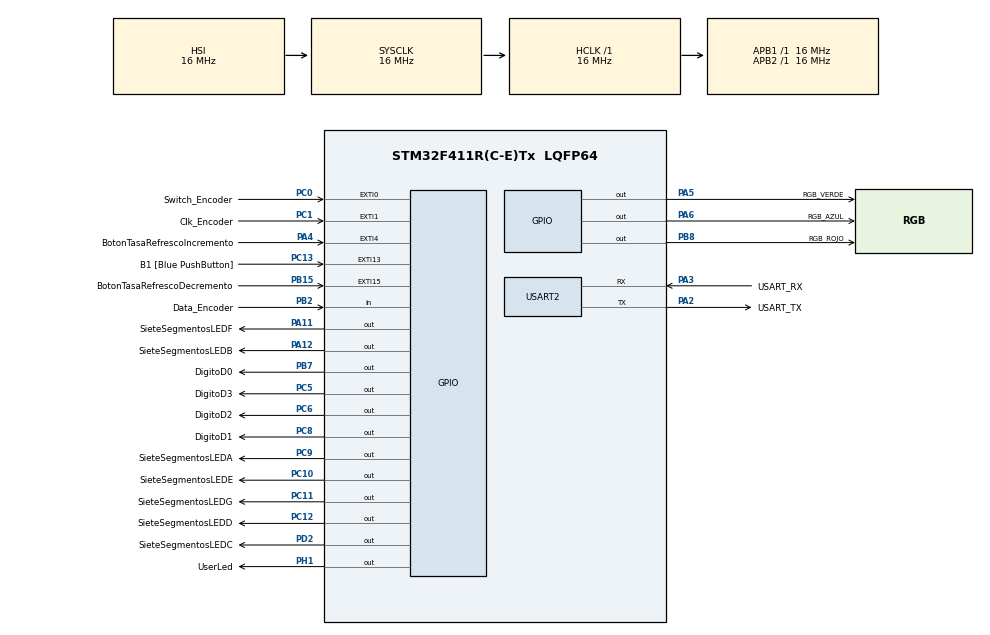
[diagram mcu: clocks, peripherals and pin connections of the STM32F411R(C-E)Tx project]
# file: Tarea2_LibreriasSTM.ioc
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Mcu.Family=STM32F4
Mcu.Name=STM32F411R(C-E)Tx
Mcu.Package=LQFP64
NVIC.EXTI0_IRQn=true\:0\:0\:false\:false\:true\:true\:true\:true
NVIC.EXTI15_10_IRQn=true\:0\:0\:false\:false\:true\:true\:true\:true
NVIC.EXTI1_IRQn=true\:0\:0\:false\:false\:true\:true\:true\:true
NVIC.EXTI4_IRQn=true\:0\:0\:false\:false\:true\:true\:true\:true
NVIC.PriorityGroup=NVIC_PRIORITYGROUP_0
NVIC.TIM2_IRQn=true\:0\:0\:false\:false\:true\:true\:true\:true
NVIC.TIM3_IRQn=true\:0\:0\:false\:false\:true\:true\:true\:true
PA11.GPIO_Label=SieteSegmentosLEDF
PA11.Signal=GPIO_Output
PA12.GPIO_Label=SieteSegmentosLEDB
PA12.Signal=GPIO_Output
PA13.GPIO_Label=TMS
PA13.Mode=Serial_Wire
PA13.Signal=SYS_JTMS-SWDIO
PA14.GPIO_Label=TCK
PA14.Mode=Serial_Wire
PA14.Signal=SYS_JTCK-SWCLK
PA2.GPIO_Label=USART_TX
PA2.Mode=Asynchronous
PA2.Signal=USART2_TX
PA3.GPIO_Label=USART_RX
PA3.Mode=Asynchronous
PA3.Signal=USART2_RX
PA4.GPIO_Label=BotonTasaRefrescoIncremento
PA4.GPIO_ModeDefaultEXTI=GPIO_MODE_IT_FALLING
PA4.Signal=GPXTI4
PA5.GPIO_Label=RGB_VERDE
PA5.Signal=GPIO_Output
PA6.GPIO_Label=RGB_AZUL
PA6.GPIO_Speed=GPIO_SPEED_FREQ_MEDIUM
PA6.Signal=GPIO_Output
PB15.GPIO_Label=BotonTasaRefrescoDecremento
PB15.GPIO_ModeDefaultEXTI=GPIO_MODE_IT_FALLING
PB15.Signal=GPXTI15
PB2.GPIO_Label=Data_Encoder
PB2.Signal=GPIO_Input
PB3.GPIO_Label=SWO
PB3.Signal=SYS_JTDO-SWO
PB7.GPIO_Label=DigitoD0
PB7.Signal=GPIO_Output
PB8.GPIO_Label=RGB_ROJO
PB8.Signal=GPIO_Output
PC0.GPIO_Label=Switch_Encoder
PC0.Signal=GPXTI0
PC1.GPIO_Label=Clk_Encoder
PC1.Signal=GPXTI1
PC10.GPIO_Label=SieteSegmentosLEDE
PC10.Signal=GPIO_Output
PC11.GPIO_Label=SieteSegmentosLEDG
PC11.Signal=GPIO_Output
PC12.GPIO_Label=SieteSegmentosLEDD
PC12.Signal=GPIO_Output
PC13-ANTI_TAMP.GPIO_Label=B1 [Blue PushButton]
PC13-ANTI_TAMP.GPIO_ModeDefaultEXTI=GPIO_MODE_IT_FALLING
PC13-ANTI_TAMP.Signal=GPXTI13
PC14-OSC32_IN.Mode=LSE-External-Clock-Source
PC14-OSC32_IN.Signal=RCC_OSC32_IN
PC15-OSC32_OUT.Mode=LSE-External-Clock-Source
PC15-OSC32_OUT.Signal=RCC_OSC32_OUT
PC5.GPIO_Label=DigitoD3
PC5.Signal=GPIO_Output
PC6.GPIO_Label=DigitoD2
PC6.Signal=GPIO_Output
PC8.GPIO_Label=DigitoD1
PC8.Signal=GPIO_Output
PC9.GPIO_Label=SieteSegmentosLEDA
PC9.Signal=GPIO_Output
PD2.GPIO_Label=SieteSegmentosLEDC
PD2.Signal=GPIO_Output
PH1\ -\ OSC_OUT.GPIO_Label=UserLed
PH1\ -\ OSC_OUT.Signal=GPIO_Output
ProjectManager.HeapSize=0x200
ProjectManager.StackSize=0x400
ProjectManager.TargetToolchain=STM32CubeIDE
RCC.AHBFreq_Value=16000000
RCC.APB1Freq_Value=16000000
RCC.APB1TimFreq_Value=16000000
RCC.APB2Freq_Value=16000000
RCC.CortexFreq_Value=16000000
RCC.FLatency-AdvancedSettings=FLASH_LATENCY_0
RCC.HSE_VALUE=25000000
RCC.HSI_VALUE=16000000
RCC.LSE_VALUE=32768
RCC.SYSCLKFreq_VALUE=16000000
RCC.VCOOutputFreq_Value=192000000
TIM2.Period=250-1
TIM2.Prescaler=16000-1
TIM3.Period=5
TIM3.Prescaler=16000
USART2.VirtualMode=VM_ASYNC
VP_TIM2_VS_ClockSourceINT.Mode=Internal
VP_TIM3_VS_ClockSourceINT.Mode=Internal
board=NUCLEO-F411RE

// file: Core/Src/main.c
/* USER CODE BEGIN Header */
/**
  ******************************************************************************
  * @file           : main.c
  * @brief          : Main program body
  ******************************************************************************
  * @attention
  *
  * Copyright (c) 2025 STMicroelectronics.
  * All rights reserved.
  *
  * This software is licensed under terms that can be found in the LICENSE file
  * in the root directory of this software component.
  * If no LICENSE file comes with this software, it is provided AS-IS.
  *
  ******************************************************************************
  */
/* USER CODE END Header */
#include "main.h"

TIM_HandleTypeDef htim2;
TIM_HandleTypeDef htim3;

UART_HandleTypeDef huart2;

/* USER CODE BEGIN PV */
State_t Current_State = STATE_REFRESH; // Se fija el estado por defecto

RGB_Color_t Current_Color = APAGADO;	//Se fija el estado inicial del LED RGB

//Variable que lleva el contador completo del taxímetro
uint16_t contador_Taximetro = 0;
//Variable que lleva el dato del dígito que se enciende en el taxímetro
uint8_t digito = 0;
//Se inicializa una variable que lleva el tiempo en ms que ha pasado desde el inicio
uint32_t contador_Tiempo = 0;

//Variables auxiliares para llevar los digitos que se deben mostrar en el taxímetro
uint8_t miles_contador_Taximetro 	= 0;
uint8_t centenas_contador_Taximetro = 0;
uint8_t decenas_contador_Taximetro 	= 0;
uint8_t unidades_contador_Taximetro = 0;
/* USER CODE END PV */

void SystemClock_Config(void);
static void MX_GPIO_Init(void);
static void MX_USART2_UART_Init(void);
static void MX_TIM2_Init(void);
static void MX_TIM3_Init(void);
/* USER CODE BEGIN PFP */
void FSM_update(State_t State);
void configMagic(void);
/* USER CODE END PFP */

int main(void)
{

  /* MCU Configuration--------------------------------------------------------*/

  /* Reset of all peripherals, Initializes the Flash interface and the Systick. */
  HAL_Init();

  /* Configure the system clock */
  SystemClock_Config();

  /* Initialize all configured peripherals */
  MX_GPIO_Init();
  MX_USART2_UART_Init();
  MX_TIM2_Init();
  MX_TIM3_Init();
  /* USER CODE BEGIN 2 */
  HAL_TIM_Base_Start_IT(&htim2); // Inicia el Timer 2 para interrupciones
  HAL_TIM_Base_Start_IT(&htim3); // Inicia el Timer 3 para interrupciones
  HAL_GPIO_WritePin(DigitoD0_GPIO_Port, DigitoD0_Pin, GPIO_PIN_SET); // Apagamos todos los digitos para evitar el fantasma
  HAL_GPIO_WritePin(DigitoD1_GPIO_Port, DigitoD1_Pin, GPIO_PIN_SET);
  HAL_GPIO_WritePin(DigitoD2_GPIO_Port, DigitoD2_Pin, GPIO_PIN_SET);
  HAL_GPIO_WritePin(DigitoD3_GPIO_Port, DigitoD3_Pin, GPIO_PIN_SET);
  configMagic();
  printf("Configuración Terminada :D \n");
  printf("+-- Intro EXTI --+");
  /* USER CODE END 2 */

  /* Infinite loop */
  while (1){

    /* USER CODE BEGIN 3 */
	  FSM_update(Current_State); // Llama a la función de actualización del FSM
  }
  /* USER CODE END 3 */
}

void SystemClock_Config(void)
{
  RCC_OscInitTypeDef RCC_OscInitStruct = {0};
  RCC_ClkInitTypeDef RCC_ClkInitStruct = {0};

  /** Configure the main internal regulator output voltage
  */
  __HAL_RCC_PWR_CLK_ENABLE();
  __HAL_PWR_VOLTAGESCALING_CONFIG(PWR_REGULATOR_VOLTAGE_SCALE1);

  /** Initializes the RCC Oscillators according to the specified parameters
  * in the RCC_OscInitTypeDef structure.
  */
  RCC_OscInitStruct.OscillatorType = RCC_OSCILLATORTYPE_HSI;
  RCC_OscInitStruct.HSIState = RCC_HSI_ON;
  RCC_OscInitStruct.HSICalibrationValue = RCC_HSICALIBRATION_DEFAULT;
  RCC_OscInitStruct.PLL.PLLState = RCC_PLL_NONE;
  if (HAL_RCC_OscConfig(&RCC_OscInitStruct) != HAL_OK)
  {
    Error_Handler();
  }

  /** Initializes the CPU, AHB and APB buses clocks
  */
  RCC_ClkInitStruct.ClockType = RCC_CLOCKTYPE_HCLK|RCC_CLOCKTYPE_SYSCLK
                              |RCC_CLOCKTYPE_PCLK1|RCC_CLOCKTYPE_PCLK2;
  RCC_ClkInitStruct.SYSCLKSource = RCC_SYSCLKSOURCE_HSI;
  RCC_ClkInitStruct.AHBCLKDivider = RCC_SYSCLK_DIV1;
  RCC_ClkInitStruct.APB1CLKDivider = RCC_HCLK_DIV1;
  RCC_ClkInitStruct.APB2CLKDivider = RCC_HCLK_DIV1;

  if (HAL_RCC_ClockConfig(&RCC_ClkInitStruct, FLASH_LATENCY_0) != HAL_OK)
  {
    Error_Handler();
  }
}

static void MX_TIM2_Init(void)
{

  TIM_ClockConfigTypeDef sClockSourceConfig = {0};
  TIM_MasterConfigTypeDef sMasterConfig = {0};

  htim2.Instance = TIM2;
  htim2.Init.Prescaler = 16000-1;
  htim2.Init.CounterMode = TIM_COUNTERMODE_UP;
  htim2.Init.Period = 250-1;
  htim2.Init.ClockDivision = TIM_CLOCKDIVISION_DIV1;
  htim2.Init.AutoReloadPreload = TIM_AUTORELOAD_PRELOAD_DISABLE;
  if (HAL_TIM_Base_Init(&htim2) != HAL_OK)
  {
    Error_Handler();
  }
  sClockSourceConfig.ClockSource = TIM_CLOCKSOURCE_INTERNAL;
  if (HAL_TIM_ConfigClockSource(&htim2, &sClockSourceConfig) != HAL_OK)
  {
    Error_Handler();
  }
  sMasterConfig.MasterOutputTrigger = TIM_TRGO_RESET;
  sMasterConfig.MasterSlaveMode = TIM_MASTERSLAVEMODE_DISABLE;
  if (HAL_TIMEx_MasterConfigSynchronization(&htim2, &sMasterConfig) != HAL_OK)
  {
    Error_Handler();
  }

}

static void MX_TIM3_Init(void)
{

  TIM_ClockConfigTypeDef sClockSourceConfig = {0};
  TIM_MasterConfigTypeDef sMasterConfig = {0};

  htim3.Instance = TIM3;
  htim3.Init.Prescaler = 16000;
  htim3.Init.CounterMode = TIM_COUNTERMODE_UP;
  htim3.Init.Period = 5;
  htim3.Init.ClockDivision = TIM_CLOCKDIVISION_DIV1;
  htim3.Init.AutoReloadPreload = TIM_AUTORELOAD_PRELOAD_DISABLE;
  if (HAL_TIM_Base_Init(&htim3) != HAL_OK)
  {
    Error_Handler();
  }
  sClockSourceConfig.ClockSource = TIM_CLOCKSOURCE_INTERNAL;
  if (HAL_TIM_ConfigClockSource(&htim3, &sClockSourceConfig) != HAL_OK)
  {
    Error_Handler();
  }
  sMasterConfig.MasterOutputTrigger = TIM_TRGO_RESET;
  sMasterConfig.MasterSlaveMode = TIM_MASTERSLAVEMODE_DISABLE;
  if (HAL_TIMEx_MasterConfigSynchronization(&htim3, &sMasterConfig) != HAL_OK)
  {
    Error_Handler();
  }

}

static void MX_USART2_UART_Init(void)
{

  huart2.Instance = USART2;
  huart2.Init.BaudRate = 115200;
  huart2.Init.WordLength = UART_WORDLENGTH_8B;
  huart2.Init.StopBits = UART_STOPBITS_1;
  huart2.Init.Parity = UART_PARITY_NONE;
  huart2.Init.Mode = UART_MODE_TX_RX;
  huart2.Init.HwFlowCtl = UART_HWCONTROL_NONE;
  huart2.Init.OverSampling = UART_OVERSAMPLING_16;
  if (HAL_UART_Init(&huart2) != HAL_OK)
  {
    Error_Handler();
  }

}

static void MX_GPIO_Init(void)
{
  GPIO_InitTypeDef GPIO_InitStruct = {0};

  /* GPIO Ports Clock Enable */
  __HAL_RCC_GPIOC_CLK_ENABLE();
  __HAL_RCC_GPIOH_CLK_ENABLE();
  __HAL_RCC_GPIOA_CLK_ENABLE();
  __HAL_RCC_GPIOB_CLK_ENABLE();
  __HAL_RCC_GPIOD_CLK_ENABLE();

  /*Configure GPIO pin Output Level */
  HAL_GPIO_WritePin(UserLed_GPIO_Port, UserLed_Pin, GPIO_PIN_RESET);

  /*Configure GPIO pin Output Level */
  HAL_GPIO_WritePin(GPIOA, RGB_VERDE_Pin|RGB_AZUL_Pin|SieteSegmentosLEDF_Pin|SieteSegmentosLEDB_Pin, GPIO_PIN_RESET);

  /*Configure GPIO pin Output Level */
  HAL_GPIO_WritePin(GPIOC, DigitoD3_Pin|DigitoD2_Pin|DigitoD1_Pin|SieteSegmentosLEDA_Pin
                          |SieteSegmentosLEDE_Pin|SieteSegmentosLEDG_Pin|SieteSegmentosLEDD_Pin, GPIO_PIN_RESET);

  /*Configure GPIO pin Output Level */
  HAL_GPIO_WritePin(SieteSegmentosLEDC_GPIO_Port, SieteSegmentosLEDC_Pin, GPIO_PIN_RESET);

  /*Configure GPIO pin Output Level */
  HAL_GPIO_WritePin(GPIOB, DigitoD0_Pin|RGB_ROJO_Pin, GPIO_PIN_RESET);

  /*Configure GPIO pin : B1_Pin */
  GPIO_InitStruct.Pin = B1_Pin;
  GPIO_InitStruct.Mode = GPIO_MODE_IT_FALLING;
  GPIO_InitStruct.Pull = GPIO_NOPULL;
  HAL_GPIO_Init(B1_GPIO_Port, &GPIO_InitStruct);

  /*Configure GPIO pin : UserLed_Pin */
  GPIO_InitStruct.Pin = UserLed_Pin;
  GPIO_InitStruct.Mode = GPIO_MODE_OUTPUT_PP;
  GPIO_InitStruct.Pull = GPIO_NOPULL;
  GPIO_InitStruct.Speed = GPIO_SPEED_FREQ_LOW;
  HAL_GPIO_Init(UserLed_GPIO_Port, &GPIO_InitStruct);

  /*Configure GPIO pins : Switch_Encoder_Pin Clk_Encoder_Pin */
  GPIO_InitStruct.Pin = Switch_Encoder_Pin|Clk_Encoder_Pin;
  GPIO_InitStruct.Mode = GPIO_MODE_IT_RISING;
  GPIO_InitStruct.Pull = GPIO_NOPULL;
  HAL_GPIO_Init(GPIOC, &GPIO_InitStruct);

  /*Configure GPIO pin : BotonTasaRefrescoIncremento_Pin */
  GPIO_InitStruct.Pin = BotonTasaRefrescoIncremento_Pin;
  GPIO_InitStruct.Mode = GPIO_MODE_IT_FALLING;
  GPIO_InitStruct.Pull = GPIO_NOPULL;
  HAL_GPIO_Init(BotonTasaRefrescoIncremento_GPIO_Port, &GPIO_InitStruct);

  /*Configure GPIO pins : RGB_VERDE_Pin SieteSegmentosLEDF_Pin SieteSegmentosLEDB_Pin */
  GPIO_InitStruct.Pin = RGB_VERDE_Pin|SieteSegmentosLEDF_Pin|SieteSegmentosLEDB_Pin;
  GPIO_InitStruct.Mode = GPIO_MODE_OUTPUT_PP;
  GPIO_InitStruct.Pull = GPIO_NOPULL;
  GPIO_InitStruct.Speed = GPIO_SPEED_FREQ_LOW;
  HAL_GPIO_Init(GPIOA, &GPIO_InitStruct);

  /*Configure GPIO pin : RGB_AZUL_Pin */
  GPIO_InitStruct.Pin = RGB_AZUL_Pin;
  GPIO_InitStruct.Mode = GPIO_MODE_OUTPUT_PP;
  GPIO_InitStruct.Pull = GPIO_NOPULL;
  GPIO_InitStruct.Speed = GPIO_SPEED_FREQ_MEDIUM;
  HAL_GPIO_Init(RGB_AZUL_GPIO_Port, &GPIO_InitStruct);

  /*Configure GPIO pins : DigitoD3_Pin DigitoD2_Pin DigitoD1_Pin SieteSegmentosLEDA_Pin
                           SieteSegmentosLEDE_Pin SieteSegmentosLEDG_Pin SieteSegmentosLEDD_Pin */
  GPIO_InitStruct.Pin = DigitoD3_Pin|DigitoD2_Pin|DigitoD1_Pin|SieteSegmentosLEDA_Pin
                          |SieteSegmentosLEDE_Pin|SieteSegmentosLEDG_Pin|SieteSegmentosLEDD_Pin;
  GPIO_InitStruct.Mode = GPIO_MODE_OUTPUT_PP;
  GPIO_InitStruct.Pull = GPIO_NOPULL;
  GPIO_InitStruct.Speed = GPIO_SPEED_FREQ_LOW;
  HAL_GPIO_Init(GPIOC, &GPIO_InitStruct);

  /*Configure GPIO pin : Data_Encoder_Pin */
  GPIO_InitStruct.Pin = Data_Encoder_Pin;
  GPIO_InitStruct.Mode = GPIO_MODE_INPUT;
  GPIO_InitStruct.Pull = GPIO_NOPULL;
  HAL_GPIO_Init(Data_Encoder_GPIO_Port, &GPIO_InitStruct);

  /*Configure GPIO pin : BotonTasaRefrescoDecremento_Pin */
  GPIO_InitStruct.Pin = BotonTasaRefrescoDecremento_Pin;
  GPIO_InitStruct.Mode = GPIO_MODE_IT_FALLING;
  GPIO_InitStruct.Pull = GPIO_NOPULL;
  HAL_GPIO_Init(BotonTasaRefrescoDecremento_GPIO_Port, &GPIO_InitStruct);

  /*Configure GPIO pin : SieteSegmentosLEDC_Pin */
  GPIO_InitStruct.Pin = SieteSegmentosLEDC_Pin;
  GPIO_InitStruct.Mode = GPIO_MODE_OUTPUT_PP;
  GPIO_InitStruct.Pull = GPIO_NOPULL;
  GPIO_InitStruct.Speed = GPIO_SPEED_FREQ_LOW;
  HAL_GPIO_Init(SieteSegmentosLEDC_GPIO_Port, &GPIO_InitStruct);

  /*Configure GPIO pins : DigitoD0_Pin RGB_ROJO_Pin */
  GPIO_InitStruct.Pin = DigitoD0_Pin|RGB_ROJO_Pin;
  GPIO_InitStruct.Mode = GPIO_MODE_OUTPUT_PP;
  GPIO_InitStruct.Pull = GPIO_NOPULL;
  GPIO_InitStruct.Speed = GPIO_SPEED_FREQ_LOW;
  HAL_GPIO_Init(GPIOB, &GPIO_InitStruct);

  /* EXTI interrupt init*/
  HAL_NVIC_SetPriority(EXTI0_IRQn, 0, 0);
  HAL_NVIC_EnableIRQ(EXTI0_IRQn);

  HAL_NVIC_SetPriority(EXTI1_IRQn, 0, 0);
  HAL_NVIC_EnableIRQ(EXTI1_IRQn);

  HAL_NVIC_SetPriority(EXTI4_IRQn, 0, 0);
  HAL_NVIC_EnableIRQ(EXTI4_IRQn);

  HAL_NVIC_SetPriority(EXTI15_10_IRQn, 0, 0);
  HAL_NVIC_EnableIRQ(EXTI15_10_IRQn);

  /* USER CODE BEGIN MX_GPIO_Init_2 */
  // Para EXTI0 (PC0)
  HAL_NVIC_SetPriority(EXTI0_IRQn, 0, 0);
  HAL_NVIC_EnableIRQ(EXTI0_IRQn);

  // Para EXTI1 (PC1)
  HAL_NVIC_SetPriority(EXTI1_IRQn, 0, 0);
  HAL_NVIC_EnableIRQ(EXTI1_IRQn);

  // Para EXTI4 (PA4)
  HAL_NVIC_SetPriority(EXTI4_IRQn, 0, 0);
  HAL_NVIC_EnableIRQ(EXTI4_IRQn);

  // Para EXTI15_10 (PB15)
  HAL_NVIC_SetPriority(EXTI15_10_IRQn, 0, 0);
  HAL_NVIC_EnableIRQ(EXTI15_10_IRQn);
  /* USER CODE END MX_GPIO_Init_2 */
}

/* USER CODE BEGIN 4 */

void setNumeroSieteSegmentos(uint8_t numero){
	switch (numero){
		case 0:
			HAL_GPIO_WritePin(SieteSegmentosLEDA_GPIO_Port, SieteSegmentosLEDA_Pin, GPIO_PIN_RESET);
			HAL_GPIO_WritePin(SieteSegmentosLEDB_GPIO_Port, SieteSegmentosLEDB_Pin, GPIO_PIN_RESET);
			HAL_GPIO_WritePin(SieteSegmentosLEDC_GPIO_Port, SieteSegmentosLEDC_Pin, GPIO_PIN_RESET);
			HAL_GPIO_WritePin(SieteSegmentosLEDD_GPIO_Port, SieteSegmentosLEDD_Pin, GPIO_PIN_RESET);
			HAL_GPIO_WritePin(SieteSegmentosLEDE_GPIO_Port, SieteSegmentosLEDE_Pin, GPIO_PIN_RESET);
			HAL_GPIO_WritePin(SieteSegmentosLEDF_GPIO_Port, SieteSegmentosLEDF_Pin, GPIO_PIN_RESET);
			HAL_GPIO_WritePin(SieteSegmentosLEDG_GPIO_Port, SieteSegmentosLEDG_Pin, GPIO_PIN_SET);
			break;
		case 1:
			HAL_GPIO_WritePin(SieteSegmentosLEDA_GPIO_Port, SieteSegmentosLEDA_Pin, GPIO_PIN_SET);
			HAL_GPIO_WritePin(SieteSegmentosLEDB_GPIO_Port, SieteSegmentosLEDB_Pin, GPIO_PIN_RESET);
			HAL_GPIO_WritePin(SieteSegmentosLEDC_GPIO_Port, SieteSegmentosLEDC_Pin, GPIO_PIN_RESET);
			HAL_GPIO_WritePin(SieteSegmentosLEDD_GPIO_Port, SieteSegmentosLEDD_Pin, GPIO_PIN_SET);
			HAL_GPIO_WritePin(SieteSegmentosLEDE_GPIO_Port, SieteSegmentosLEDE_Pin, GPIO_PIN_SET);
			HAL_GPIO_WritePin(SieteSegmentosLEDF_GPIO_Port, SieteSegmentosLEDF_Pin, GPIO_PIN_SET);
			HAL_GPIO_WritePin(SieteSegmentosLEDG_GPIO_Port, SieteSegmentosLEDG_Pin, GPIO_PIN_SET);
			break;
		case 2:
			HAL_GPIO_WritePin(SieteSegmentosLEDA_GPIO_Port, SieteSegmentosLEDA_Pin, GPIO_PIN_RESET);
			HAL_GPIO_WritePin(SieteSegmentosLEDB_GPIO_Port, SieteSegmentosLEDB_Pin, GPIO_PIN_RESET);
			HAL_GPIO_WritePin(SieteSegmentosLEDC_GPIO_Port, SieteSegmentosLEDC_Pin, GPIO_PIN_SET);
			HAL_GPIO_WritePin(SieteSegmentosLEDD_GPIO_Port, SieteSegmentosLEDD_Pin, GPIO_PIN_RESET);
			HAL_GPIO_WritePin(SieteSegmentosLEDE_GPIO_Port, SieteSegmentosLEDE_Pin, GPIO_PIN_RESET);
			HAL_GPIO_WritePin(SieteSegmentosLEDF_GPIO_Port, SieteSegmentosLEDF_Pin, GPIO_PIN_SET);
			HAL_GPIO_WritePin(SieteSegmentosLEDG_GPIO_Port, SieteSegmentosLEDG_Pin, GPIO_PIN_RESET);
			break;
		case 3:
			HAL_GPIO_WritePin(SieteSegmentosLEDA_GPIO_Port, SieteSegmentosLEDA_Pin, GPIO_PIN_RESET);
			HAL_GPIO_WritePin(SieteSegmentosLEDB_GPIO_Port, SieteSegmentosLEDB_Pin, GPIO_PIN_RESET);
			HAL_GPIO_WritePin(SieteSegmentosLEDC_GPIO_Port, SieteSegmentosLEDC_Pin, GPIO_PIN_RESET);
			HAL_GPIO_WritePin(SieteSegmentosLEDD_GPIO_Port, SieteSegmentosLEDD_Pin, GPIO_PIN_RESET);
			HAL_GPIO_WritePin(SieteSegmentosLEDE_GPIO_Port, SieteSegmentosLEDE_Pin, GPIO_PIN_SET);
			HAL_GPIO_WritePin(SieteSegmentosLEDF_GPIO_Port, SieteSegmentosLEDF_Pin, GPIO_PIN_SET);
			HAL_GPIO_WritePin(SieteSegmentosLEDG_GPIO_Port, SieteSegmentosLEDG_Pin, GPIO_PIN_RESET);
			break;
		case 4:
			HAL_GPIO_WritePin(SieteSegmentosLEDA_GPIO_Port, SieteSegmentosLEDA_Pin, GPIO_PIN_SET);
			HAL_GPIO_WritePin(SieteSegmentosLEDB_GPIO_Port, SieteSegmentosLEDB_Pin, GPIO_PIN_RESET);
			HAL_GPIO_WritePin(SieteSegmentosLEDC_GPIO_Port, SieteSegmentosLEDC_Pin, GPIO_PIN_RESET);
			HAL_GPIO_WritePin(SieteSegmentosLEDD_GPIO_Port, SieteSegmentosLEDD_Pin, GPIO_PIN_SET);
			HAL_GPIO_WritePin(SieteSegmentosLEDE_GPIO_Port, SieteSegmentosLEDE_Pin, GPIO_PIN_SET);
			HAL_GPIO_WritePin(SieteSegmentosLEDF_GPIO_Port, SieteSegmentosLEDF_Pin, GPIO_PIN_RESET);
			HAL_GPIO_WritePin(SieteSegmentosLEDG_GPIO_Port, SieteSegmentosLEDG_Pin, GPIO_PIN_RESET);
			break;
		case 5:
			HAL_GPIO_WritePin(SieteSegmentosLEDA_GPIO_Port, SieteSegmentosLEDA_Pin, GPIO_PIN_RESET);
			HAL_GPIO_WritePin(SieteSegmentosLEDB_GPIO_Port, SieteSegmentosLEDB_Pin, GPIO_PIN_SET);
			HAL_GPIO_WritePin(SieteSegmentosLEDC_GPIO_Port, SieteSegmentosLEDC_Pin, GPIO_PIN_RESET);
			HAL_GPIO_WritePin(SieteSegmentosLEDD_GPIO_Port, SieteSegmentosLEDD_Pin, GPIO_PIN_RESET);
			HAL_GPIO_WritePin(SieteSegmentosLEDE_GPIO_Port, SieteSegmentosLEDE_Pin, GPIO_PIN_SET);
			HAL_GPIO_WritePin(SieteSegmentosLEDF_GPIO_Port, SieteSegmentosLEDF_Pin, GPIO_PIN_RESET);
			HAL_GPIO_WritePin(SieteSegmentosLEDG_GPIO_Port, SieteSegmentosLEDG_Pin, GPIO_PIN_RESET);
			break;
		case 6:
			HAL_GPIO_WritePin(SieteSegmentosLEDA_GPIO_Port, SieteSegmentosLEDA_Pin, GPIO_PIN_RESET);
			HAL_GPIO_WritePin(SieteSegmentosLEDB_GPIO_Port, SieteSegmentosLEDB_Pin, GPIO_PIN_SET);
			HAL_GPIO_WritePin(SieteSegmentosLEDC_GPIO_Port, SieteSegmentosLEDC_Pin, GPIO_PIN_RESET);
			HAL_GPIO_WritePin(SieteSegmentosLEDD_GPIO_Port, SieteSegmentosLEDD_Pin, GPIO_PIN_RESET);
			HAL_GPIO_WritePin(SieteSegmentosLEDE_GPIO_Port, SieteSegmentosLEDE_Pin, GPIO_PIN_RESET);
			HAL_GPIO_WritePin(SieteSegmentosLEDF_GPIO_Port, SieteSegmentosLEDF_Pin, GPIO_PIN_RESET);
			HAL_GPIO_WritePin(SieteSegmentosLEDG_GPIO_Port, SieteSegmentosLEDG_Pin, GPIO_PIN_RESET);
			break;
		case 7:
			HAL_GPIO_WritePin(SieteSegmentosLEDA_GPIO_Port, SieteSegmentosLEDA_Pin, GPIO_PIN_RESET);
			HAL_GPIO_WritePin(SieteSegmentosLEDB_GPIO_Port, SieteSegmentosLEDB_Pin, GPIO_PIN_RESET);
			HAL_GPIO_WritePin(SieteSegmentosLEDC_GPIO_Port, SieteSegmentosLEDC_Pin, GPIO_PIN_RESET);
			HAL_GPIO_WritePin(SieteSegmentosLEDD_GPIO_Port, SieteSegmentosLEDD_Pin, GPIO_PIN_SET);
			HAL_GPIO_WritePin(SieteSegmentosLEDE_GPIO_Port, SieteSegmentosLEDE_Pin, GPIO_PIN_SET);
			HAL_GPIO_WritePin(SieteSegmentosLEDF_GPIO_Port, SieteSegmentosLEDF_Pin, GPIO_PIN_SET);
			HAL_GPIO_WritePin(SieteSegmentosLEDG_GPIO_Port, SieteSegmentosLEDG_Pin, GPIO_PIN_SET);
			break;
		case 8:
			HAL_GPIO_WritePin(SieteSegmentosLEDA_GPIO_Port, SieteSegmentosLEDA_Pin, GPIO_PIN_RESET);
			HAL_GPIO_WritePin(SieteSegmentosLEDB_GPIO_Port, SieteSegmentosLEDB_Pin, GPIO_PIN_RESET);
			HAL_GPIO_WritePin(SieteSegmentosLEDC_GPIO_Port, SieteSegmentosLEDC_Pin, GPIO_PIN_RESET);
			HAL_GPIO_WritePin(SieteSegmentosLEDD_GPIO_Port, SieteSegmentosLEDD_Pin, GPIO_PIN_RESET);
			HAL_GPIO_WritePin(SieteSegmentosLEDE_GPIO_Port, SieteSegmentosLEDE_Pin, GPIO_PIN_RESET);
			HAL_GPIO_WritePin(SieteSegmentosLEDF_GPIO_Port, SieteSegmentosLEDF_Pin, GPIO_PIN_RESET);
			HAL_GPIO_WritePin(SieteSegmentosLEDG_GPIO_Port, SieteSegmentosLEDG_Pin, GPIO_PIN_RESET);
			break;
		case 9:
			HAL_GPIO_WritePin(SieteSegmentosLEDA_GPIO_Port, SieteSegmentosLEDA_Pin, GPIO_PIN_RESET);
			HAL_GPIO_WritePin(SieteSegmentosLEDB_GPIO_Port, SieteSegmentosLEDB_Pin, GPIO_PIN_RESET);
			HAL_GPIO_WritePin(SieteSegmentosLEDC_GPIO_Port, SieteSegmentosLEDC_Pin, GPIO_PIN_RESET);
			HAL_GPIO_WritePin(SieteSegmentosLEDD_GPIO_Port, SieteSegmentosLEDD_Pin, GPIO_PIN_RESET);
			HAL_GPIO_WritePin(SieteSegmentosLEDE_GPIO_Port, SieteSegmentosLEDE_Pin, GPIO_PIN_SET);
			HAL_GPIO_WritePin(SieteSegmentosLEDF_GPIO_Port, SieteSegmentosLEDF_Pin, GPIO_PIN_RESET);
			HAL_GPIO_WritePin(SieteSegmentosLEDG_GPIO_Port, SieteSegmentosLEDG_Pin, GPIO_PIN_RESET);
			break;
	}
}

void separarContador(void){
	/*
	 * Esta función asigna a estas variables el número correspondiente para que pueda mostrarse
	 * el número adecuado en el taxímetro
	 */
	miles_contador_Taximetro = contador_Taximetro / 1000;
	centenas_contador_Taximetro = (contador_Taximetro % 1000) / 100;
	decenas_contador_Taximetro = (contador_Taximetro % 100) / 10;
	unidades_contador_Taximetro = contador_Taximetro % 10;
}

void cambioEstadoLEDRGB(RGB_Color_t Color){
	switch (Color){
		case APAGADO: {
			HAL_GPIO_WritePin(GPIOA, RGB_AZUL_Pin, GPIO_PIN_RESET);
			HAL_GPIO_WritePin(GPIOB, RGB_ROJO_Pin, GPIO_PIN_RESET);
			HAL_GPIO_WritePin(GPIOA, RGB_VERDE_Pin, GPIO_PIN_RESET);
			break;
		}
		case ROJO: {
			HAL_GPIO_WritePin(GPIOA, RGB_AZUL_Pin, GPIO_PIN_RESET);
			HAL_GPIO_WritePin(GPIOB, RGB_ROJO_Pin, GPIO_PIN_SET);
			HAL_GPIO_WritePin(GPIOA, RGB_VERDE_Pin, GPIO_PIN_RESET);
			break;
		}
		case AZUL: {
			HAL_GPIO_WritePin(GPIOA, RGB_AZUL_Pin, GPIO_PIN_SET);
			HAL_GPIO_WritePin(GPIOB, RGB_ROJO_Pin, GPIO_PIN_RESET);
			HAL_GPIO_WritePin(GPIOA, RGB_VERDE_Pin, GPIO_PIN_RESET);
			break;
		}
		case VERDE: {
			HAL_GPIO_WritePin(GPIOA, RGB_AZUL_Pin, GPIO_PIN_RESET);
			HAL_GPIO_WritePin(GPIOB, RGB_ROJO_Pin, GPIO_PIN_RESET);
			HAL_GPIO_WritePin(GPIOA, RGB_VERDE_Pin, GPIO_PIN_SET);
			break;
		}
		case AZUL_VERDE: {
			HAL_GPIO_WritePin(GPIOA, RGB_AZUL_Pin, GPIO_PIN_SET);
			HAL_GPIO_WritePin(GPIOB, RGB_ROJO_Pin, GPIO_PIN_RESET);
			HAL_GPIO_WritePin(GPIOA, RGB_VERDE_Pin, GPIO_PIN_SET);
			break;
		}
		case AZUL_ROJO: {
			HAL_GPIO_WritePin(GPIOA, RGB_AZUL_Pin, GPIO_PIN_SET);
			HAL_GPIO_WritePin(GPIOB, RGB_ROJO_Pin, GPIO_PIN_SET);
			HAL_GPIO_WritePin(GPIOA, RGB_VERDE_Pin, GPIO_PIN_RESET);
			break;
		}
		case ROJO_VERDE: {
			HAL_GPIO_WritePin(GPIOA, RGB_AZUL_Pin, GPIO_PIN_RESET);
			HAL_GPIO_WritePin(GPIOB, RGB_ROJO_Pin, GPIO_PIN_SET);
			HAL_GPIO_WritePin(GPIOA, RGB_VERDE_Pin, GPIO_PIN_SET);
			break;
		}
		case ROJO_VERDE_AZUL: {
			HAL_GPIO_WritePin(GPIOA, RGB_AZUL_Pin, GPIO_PIN_SET);
			HAL_GPIO_WritePin(GPIOB, RGB_ROJO_Pin, GPIO_PIN_SET);
			HAL_GPIO_WritePin(GPIOA, RGB_VERDE_Pin, GPIO_PIN_SET);
			break;
		}
	}
}

void displaySieteSegmentos(uint8_t digito){
	switch (digito){
		case 0 :{
			HAL_GPIO_WritePin(DigitoD3_GPIO_Port, DigitoD3_Pin, GPIO_PIN_SET);   			//Se desactiva el dígito anterior
			setNumeroSieteSegmentos(unidades_contador_Taximetro);	//Se asigna el número correspondiente a las unidades
			HAL_GPIO_WritePin(DigitoD0_GPIO_Port, DigitoD0_Pin, GPIO_PIN_RESET);			//Se muestra el número en el dígito 0
			break;
		}case 1:{
			HAL_GPIO_WritePin(DigitoD0_GPIO_Port, DigitoD0_Pin, GPIO_PIN_SET);				//Se desactiva el digito anterior
			setNumeroSieteSegmentos(decenas_contador_Taximetro);	//Se asigna el número correspondiente a las decenas
			HAL_GPIO_WritePin(DigitoD1_GPIO_Port, DigitoD1_Pin, GPIO_PIN_RESET);			//Se muestra el número en el dígito 1
			break;
		}case 2:{
			HAL_GPIO_WritePin(DigitoD1_GPIO_Port, DigitoD1_Pin, GPIO_PIN_SET);				//Se desactiva el digito anterior
			setNumeroSieteSegmentos(centenas_contador_Taximetro);	//Se asigna el número correspondiente a las centenas
			HAL_GPIO_WritePin(DigitoD2_GPIO_Port, DigitoD2_Pin, GPIO_PIN_RESET);			//Se muestra el número en el dígito 2
			break;
		}case 3:{
			HAL_GPIO_WritePin(DigitoD2_GPIO_Port, DigitoD2_Pin, GPIO_PIN_SET);				//Se desactiva el digito anterior
			setNumeroSieteSegmentos(miles_contador_Taximetro);		//Se asigna el número correspondiente a los miles
			HAL_GPIO_WritePin(DigitoD3_GPIO_Port, DigitoD3_Pin, GPIO_PIN_RESET);			//Se muestra el número en el dígito 3
			break;
		}
	}
}

void FSM_update(State_t State){
	switch (State){
		case STATE_REFRESH:{
			if(digito > 3){	//Si se quiere prender el digito 4 (No existe) se devuelve al digito 0
				digito = 0;
			}
			displaySieteSegmentos(digito);	//Se muestran los digitos con el efecto visual deseado
			break;
		}case STATE_RGB_FEEDBACK :{
			//Este condicional es para poder repetir el ciclo dentro del ENUM indefinidamente
			if (Current_Color == ROJO_VERDE_AZUL ){	//Si se hace una interrupción y el estado es el final
				Current_Color = APAGADO;			//Se vuelve al estado apagado
				cambioEstadoLEDRGB(Current_Color);	//Se muestra el estado apagado
				Current_State = STATE_REFRESH;			//Se vuelve al estado IDLE
			}else{
				Current_Color++;					//De otra forma, se cambia al siguiente estado
				cambioEstadoLEDRGB(Current_Color);	//Se muestra el color del estado
				Current_State = STATE_REFRESH;			//Se vuelve al estado IDLE
			}
			break;
		}case STATE_TAXIMETER_FEEDBACK :{
			//Primero se identifica el sentido de giro del encoder,
			//Sumando o restando en cada caso
			if (HAL_GPIO_ReadPin(Data_Encoder_GPIO_Port, Data_Encoder_Pin) == GPIO_PIN_RESET){	//Se lee el pin Data del Encoder
				contador_Taximetro++;
			}else{
				contador_Taximetro--;
			}
			//Luego se evita que el contador pase de 0 a 0xFFFF, pasándolo a 0xFFF, pues queremos simular una variable de 12 bits
			if(contador_Taximetro > 4096){
				contador_Taximetro = 4095;
			}else if(contador_Taximetro > 4095){ //También se debe desbordar de 0xFFF a 0 en lugar de seguir subiendo
				contador_Taximetro = 0;
			}
			separarContador();	//Se separan los miles, centenas, decenas, unidades del nuevo número en el contador para
								//Mostrarlos posteriormente
			Current_State = STATE_REFRESH;//Se cambia al estado IDLE para que se muestre los números del contador
			break;
		}case STATE_CHANGE_REFRESH :{
			HAL_TIM_Base_Stop_IT(&htim3); 					//Se apaga el Timer 3 para configurarlo
			if(htim3.Init.Period >= 4){  					//Se verifica si el valor que entra es válido
				//En el caso de que sí, entonces:
				HAL_TIM_Base_Init(&htim3);					//La variable ya fue modificada y se carga a la configuración del timer
				HAL_TIM_Base_Start_IT(&htim3);
				Current_State = STATE_REFRESH;				//Volvemos al estado de Refresh ahora con una velocidad más rápida
			}else{											//El decremento es inválido
				htim3.Init.Period += 5;						// El periodo del timer vuelve a su valor de 5ms
				HAL_TIM_Base_Start_IT(&htim3);				//Se vuelve a encender el Timer
			    Current_State = STATE_REFRESH;				//Se vuelve al estado de REFRESCO
			}
			HAL_TIM_Base_Start_IT(&htim3);					//Se vuelve a encender el Timer «»
			break;
		}
	}
}

void HAL_TIM_PeriodElapsedCallback(TIM_HandleTypeDef *htim){
	if(htim->Instance == TIM2){
		HAL_GPIO_TogglePin(UserLed_GPIO_Port, UserLed_Pin); // UserLed parpadea cada 250ms
	}else if(htim->Instance == TIM3){
		digito++; // Se incrementa el dígito cada 5ms
	}
}

void HAL_GPIO_EXTI_Callback(uint16_t GPIO_Pin){
	if(GPIO_Pin == Switch_Encoder_Pin){ // Botón del encoder
		printf("Tiempo en ms: %ld", contador_Tiempo);
		Current_State = STATE_RGB_FEEDBACK;	//Al identificar un flanco de subida en el switch se cambia al estado RGB
	}else if(GPIO_Pin == Clk_Encoder_Pin){
		Current_State = STATE_TAXIMETER_FEEDBACK; //Se identifica un flanco de subida en el clock y se pasa rápidamente al estado que cambia el número del taxímetro
	}else if(GPIO_Pin == BotonTasaRefrescoDecremento_Pin){
		htim3.Init.Period	+= 5; 	//Modificamos el valor del periodo del timer, aumentando la velocidad
		Current_State = STATE_CHANGE_REFRESH;
	}else if(GPIO_Pin == BotonTasaRefrescoIncremento_Pin){
		htim3.Init.Period	-= 5; 	//Modificamos el valor del periodo del timer, disminuyendo la velocidad
		Current_State = STATE_CHANGE_REFRESH;

	}
}

/* USER CODE END 4 */

void Error_Handler(void)
{
  __disable_irq();
  while (1)
  {
  }
}
